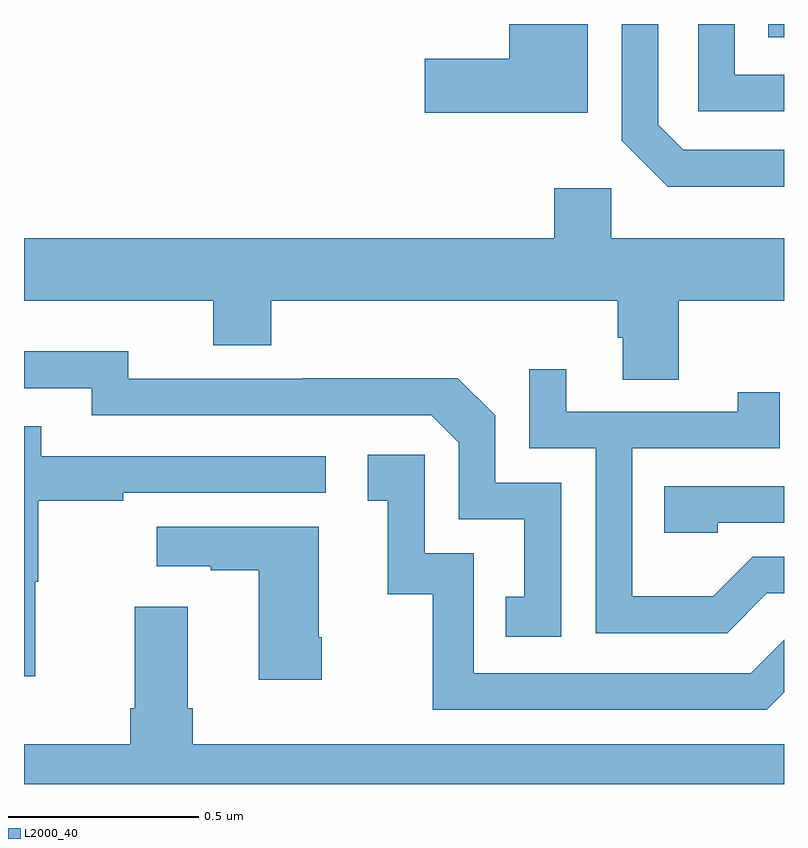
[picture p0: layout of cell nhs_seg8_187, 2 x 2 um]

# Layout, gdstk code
import gdstk
lib = gdstk.Library(unit=1e-6, precision=1e-09)
def R(c, l, rs):  # rectangles x0, y0, x1, y1
    for r in rs: c.add(gdstk.rectangle(r[:2], r[2:], *l))
def P(c, l, *ps):  # polygons
    for p in ps: c.add(gdstk.Polygon(p, *l))
L2000_40 = (2000, 40)

nhs_seg8_187 = lib.new_cell('nhs_seg8_187')
R(nhs_seg8_187, L2000_40, [(114.959,1111.865,115,1111.9)])
P(nhs_seg8_187, L2000_40, [(115,1111.569),(114.735,1111.569),(114.669,1111.635),(114.669,1111.9),(114.573,1111.9),(114.573,1111.593),(114.694,1111.472),(115,1111.472)],
  [(114.484,1111.9),(114.277,1111.9),(114.277,1111.808),(114.054,1111.808),(114.054,1111.666),(114.484,1111.666)],
  [(115,1111.767),(114.87,1111.767),(114.87,1111.9),(114.774,1111.9),(114.774,1111.671),(115,1111.671)],
  [(114.723,1111.172),(115,1111.172),(115,1111.336),(114.546,1111.336),(114.546,1111.468),(114.395,1111.468),(114.395,1111.336),(113,1111.336),(113,1111.172),(113.498,1111.172),(113.498,1111.055),(113.651,1111.055),(113.651,1111.172),(114.563,1111.172),(114.563,1111.074),(114.575,1111.074),(114.575,1110.964),(114.723,1110.964)],
  [(114.414,1110.693),(114.24,1110.693),(114.24,1110.87),(114.142,1110.968),(113.734,1110.968),(113.734,1110.966),(113.274,1110.966),(113.274,1111.039),(113,1111.039),(113,1110.942),(113.178,1110.942),(113.178,1110.87),(114.072,1110.87),(114.144,1110.798),(114.144,1110.597),(114.317,1110.597),(114.317,1110.393),(114.268,1110.393),(114.268,1110.288),(114.414,1110.288)],
  [(114.955,1110.402),(115,1110.402),(115,1110.498),(114.918,1110.498),(114.814,1110.394),(114.6,1110.394),(114.6,1110.783),(114.989,1110.783),(114.989,1110.931),(114.878,1110.931),(114.878,1110.879),(114.427,1110.879),(114.427,1110.991),(114.33,1110.991),(114.33,1110.783),(114.504,1110.783),(114.504,1110.297),(114.85,1110.297)],
  [(113.03,1110.432),(113.038,1110.432),(113.038,1110.646),(113.261,1110.646),(113.261,1110.666),(113.794,1110.666),(113.794,1110.762),(113.045,1110.762),(113.045,1110.841),(113,1110.841),(113,1110.183),(113.03,1110.183)],
  [(115,1110.142),(115,1110.28),(114.912,1110.192),(114.183,1110.192),(114.183,1110.507),(114.054,1110.507),(114.054,1110.766),(113.904,1110.766),(113.904,1110.645),(113.957,1110.645),(113.957,1110.399),(114.075,1110.399),(114.075,1110.096),(114.954,1110.096)],
  [(114.825,1110.588),(115,1110.588),(115,1110.684),(114.685,1110.684),(114.685,1110.561),(114.825,1110.561)],
  [(113.784,1110.286),(113.776,1110.286),(113.776,1110.577),(113.349,1110.577),(113.349,1110.473),(113.492,1110.473),(113.492,1110.463),(113.618,1110.463),(113.618,1110.174),(113.784,1110.174)],
  [(115,1110.004),(113.444,1110.004),(113.444,1110.1),(113.431,1110.1),(113.431,1110.367),(113.291,1110.367),(113.291,1110.1),(113.279,1110.1),(113.279,1110.004),(113,1110.004),(113,1109.9),(115,1109.9)])

lib.write_gds('nhs_seg8_187.gds')
